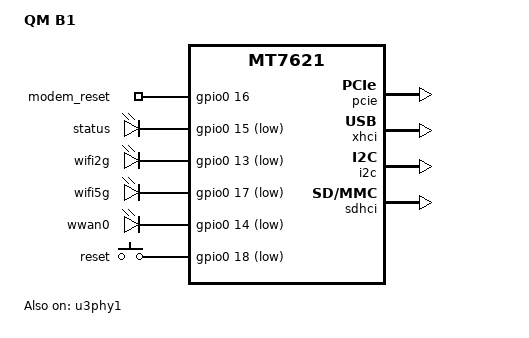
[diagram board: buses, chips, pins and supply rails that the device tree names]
/dts-v1/;

#include "mt7621.dtsi"
#include <dt-bindings/input/input.h>
#include "mt7621-spi-16m-layout.dtsi"
#include "mt7621-raeth-gmac2.dtsi"
#include "mt7621-pinctrl-default-gpio.dtsi"

/ {
	compatible = "mediatek,mt7621-soc";
	model = "QM B1";

   chosen {
        bootargs = "console=ttyS0,115200";
          };
   
    gpio-export {
		compatible = "gpio-export";
		#size-cells = <0>;

		modem_reset {
			gpio-export,name = "modem_reset";
			gpio-export,output = <1>;
			gpios = <&gpio0 16 GPIO_ACTIVE_HIGH>;
		};
	};
  
 leds {
        compatible = "gpio-leds";

      status {
			label = "status";
			gpios = <&gpio0 15 GPIO_ACTIVE_LOW>;
		};
		
      wifi2g {
			label = "wifi2g";
			gpios = <&gpio0 13 GPIO_ACTIVE_LOW>;
					};

	   wifi5g {
			label = "wifi5g";
			gpios = <&gpio0 17 GPIO_ACTIVE_LOW>;
				 	};
		
	   wwan0 {
			label = "wwan0";
			gpios = <&gpio0 14 GPIO_ACTIVE_LOW>;
					};
  
	};   
    
	gpio-keys-polled {
		compatible = "gpio-keys-polled";
		#address-cells = <1>;
		#size-cells = <0>;
		poll-interval = <20>;

		reset {
			label = "reset";
			gpios = <&gpio0 18 GPIO_ACTIVE_LOW>;
			linux,code = <KEY_RESTART>;
		};
	};
};
  
 

&pcie {
	status = "okay";
};

&xhci {
	status = "okay";
};

&u3phy1 {
	status = "okay";
};

&i2c {
	status = "okay";
};

&sdhci {
	status = "okay";
};
